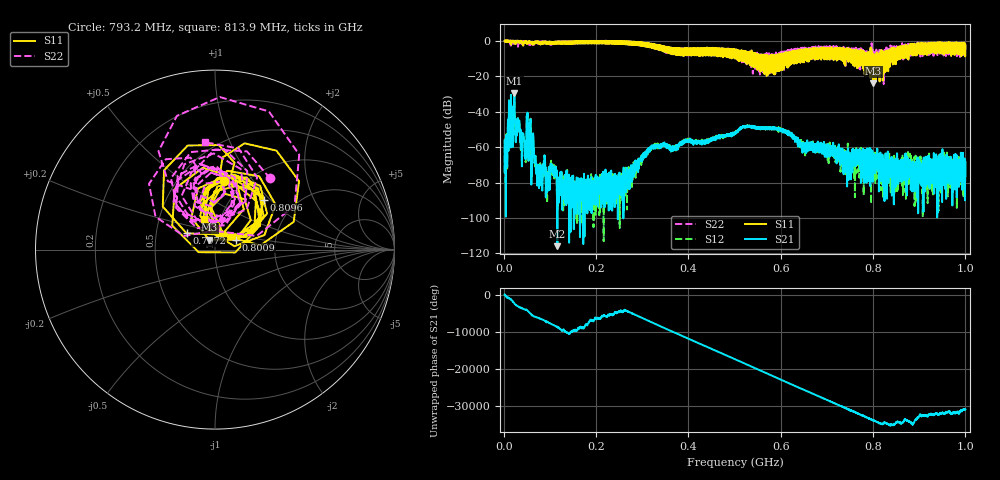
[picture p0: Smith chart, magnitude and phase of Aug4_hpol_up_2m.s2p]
!Keysight Technologies N9923A: A.12.45
!Date: Tuesday, 05 August 2025 19:57:16
!Timezone: (UTC+08:00) Kuala Lumpur, Singapore
!Model: N9923A
!Serial: MY61181427
!GPS Latitude:
!GPS Longitude:
!GPS TimeStamp: 0001-01-01 00:00:00Z
!GPS Seconds Since Last Read: 0
!CHECKSUM:1273308761
!Correction: S11(ON U)S21(ON U)S12(ON U)S22(ON U)
!S2P File: Measurements:S11,S21,S12,S22:
# Hz S DB R 50
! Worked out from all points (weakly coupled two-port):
!   4001 points, 2 MHz to 1 GHz, reference 50 ohm
!   highest |S21| = -29.73 dB at 22.96 MHz (marker M1); lowest = -115.9 dB at 116.3 MHz (marker M2)
!   lowest |S11| = -24.0 dB at 800.6 MHz (marker M3), VSWR 1.14, Z = 46.6 + j5.11 ohm
!   |S11| at or under -10 dB: 552.336 MHz to 553.2745 MHz (938.6 kHz wide, 0.17 % of centre); 553.988 MHz to 554.9479 MHz (960 kHz wide, 0.173 % of centre); 801.6321 MHz to 802.7982 MHz (1.166 MHz wide, 0.145 % of centre)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
!   |S22| runs from -24.4 to 0.1 dB; largest |S21 - S12| = 0.0013
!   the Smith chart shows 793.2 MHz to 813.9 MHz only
!   S11 on the Smith chart (normalised r, x): 793.2 MHz: 0.82, +0.73; 797.2 MHz: 0.72, +0.13; 800.9 MHz: 1.25, +0.14; 809.6 MHz: 1.40, +0.92; 813.9 MHz: 0.84, +0.29
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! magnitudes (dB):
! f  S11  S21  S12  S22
! 2 MHz  -0.1  -73.6  -74.5  -0.1
! 12.98 MHz  -0.2  -47.3  -47.2  -0.2
! 22.96 MHz  -0.5  -29.7  -29.6  -1.9
! 44.17 MHz  -1.4  -56.5  -56.2  -1.0
! 54.4 MHz  -1.3  -61.1  -61.3  -2.1
! 73.86 MHz  -0.5  -77.6  -76.6  -0.6
! 116.3 MHz  -1.5  -115.9  -81.3  -1.4
! 168.4 MHz  -1.5  -84.1  -96.5  -1.3
! 269.2 MHz  -2.1  -73.0  -78.3  -1.8
! 334.8 MHz  -4.2  -59.7  -59.2  -5.0
! 501 MHz  -6.9  -51.8  -52.2  -9.4
! 590.6 MHz  -8.7  -49.6  -49.4  -12.8
! 667.4 MHz  -10.1  -59.3  -59.2  -5.4
! 747.3 MHz  -4.8  -73.3  -69.2  -9.0
! 793.2 MHz  -8.3  -60.5  -66.2  -6.0
! 797.2 MHz  -14.8  -65.6  -67.4  -2.2
! 800.6 MHz  -24.0  -66.7  -66.3  -8.1
! 800.9 MHz  -17.8  -67.5  -67.9  -10.6
! 809.6 MHz  -8.2  -66.3  -65.4  -15.5
! 813.9 MHz  -14.9  -73.2  -66.7  -4.4
! 833.8 MHz  -6.6  -70.4  -70.2  -5.4
! 1 GHz  -2.7  -76.2  -68.0  -6.5
